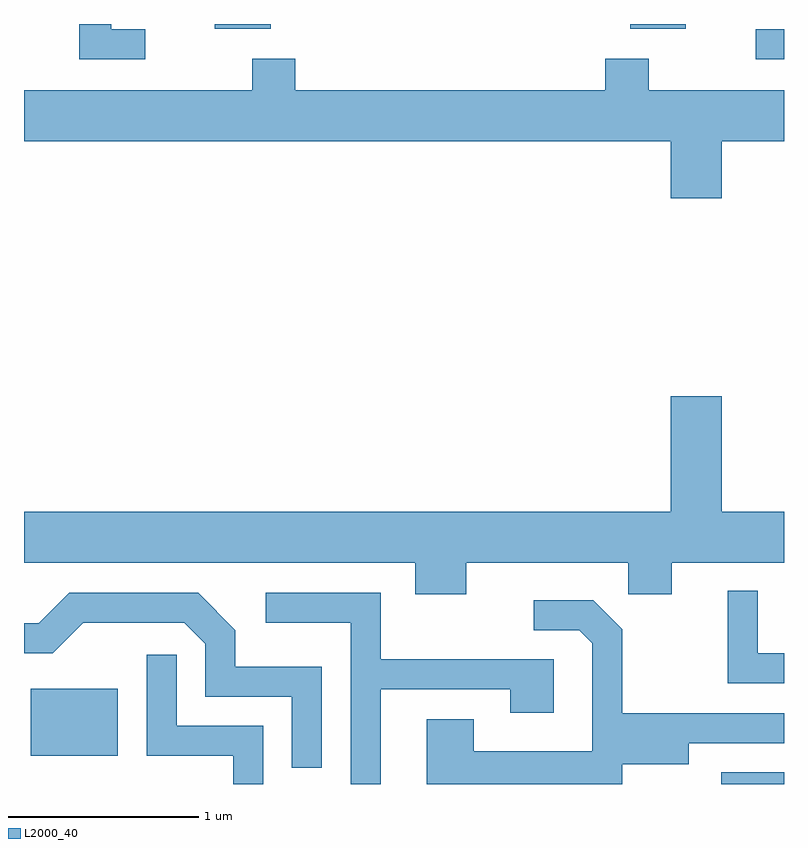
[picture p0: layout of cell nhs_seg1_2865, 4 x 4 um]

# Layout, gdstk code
import gdstk
lib = gdstk.Library(unit=1e-6, precision=1e-09)
def R(c, l, rs):  # rectangles x0, y0, x1, y1
    for r in rs: c.add(gdstk.rectangle(r[:2], r[2:], *l))
def P(c, l, *ps):  # polygons
    for p in ps: c.add(gdstk.Polygon(p, *l))
L2000_40 = (2000, 40)

nhs_seg1_2865 = lib.new_cell('nhs_seg1_2865')
R(nhs_seg1_2865, L2000_40, [(275.281,931.712,275.611,931.774), (271.646,931.861,272.104,932.214), (275.463,935.526,275.611,935.684), (272.616,935.686,272.909,935.712), (274.801,935.686,275.094,935.712)])
P(nhs_seg1_2865, L2000_40, [(272.248,935.684),(272.069,935.684),(272.069,935.712),(271.901,935.712),(271.901,935.526),(272.248,935.526)],
  [(275.284,935.096),(275.611,935.096),(275.611,935.364),(274.899,935.364),(274.899,935.529),(274.671,935.529),(274.671,935.364),(273.039,935.364),(273.039,935.529),(272.811,935.529),(272.811,935.364),(271.611,935.364),(271.611,935.096),(275.016,935.096),(275.016,934.796),(275.284,934.796)],
  [(273.939,932.876),(274.791,932.876),(274.791,932.711),(275.019,932.711),(275.019,932.876),(275.611,932.876),(275.611,933.144),(275.284,933.144),(275.284,933.754),(275.016,933.754),(275.016,933.144),(271.611,933.144),(271.611,932.876),(273.671,932.876),(273.671,932.711),(273.939,932.711)],
  [(275.611,932.399),(275.474,932.399),(275.474,932.728),(275.316,932.728),(275.316,932.241),(275.611,932.241)],
  [(273.179,932.329),(272.724,932.329),(272.724,932.522),(272.527,932.719),(271.849,932.719),(271.689,932.559),(271.611,932.559),(271.611,932.401),(271.762,932.401),(271.922,932.561),(272.454,932.561),(272.566,932.449),(272.566,932.171),(273.021,932.171),(273.021,931.798),(273.179,931.798)],
  [(273.489,932.211),(274.171,932.211),(274.171,932.086),(274.399,932.086),(274.399,932.369),(273.489,932.369),(273.489,932.719),(272.883,932.719),(272.883,932.561),(273.331,932.561),(273.331,931.712),(273.489,931.712)],
  [(274.759,931.816),(275.109,931.816),(275.109,931.926),(275.611,931.926),(275.611,932.084),(274.759,932.084),(274.759,932.527),(274.607,932.679),(274.293,932.679),(274.293,932.521),(274.534,932.521),(274.601,932.454),(274.601,931.884),(273.979,931.884),(273.979,932.054),(273.731,932.054),(273.731,931.712),(274.759,931.712)],
  [(272.869,932.019),(272.414,932.019),(272.414,932.393),(272.256,932.393),(272.256,931.861),(272.711,931.861),(272.711,931.712),(272.869,931.712)])

lib.write_gds('nhs_seg1_2865.gds')
